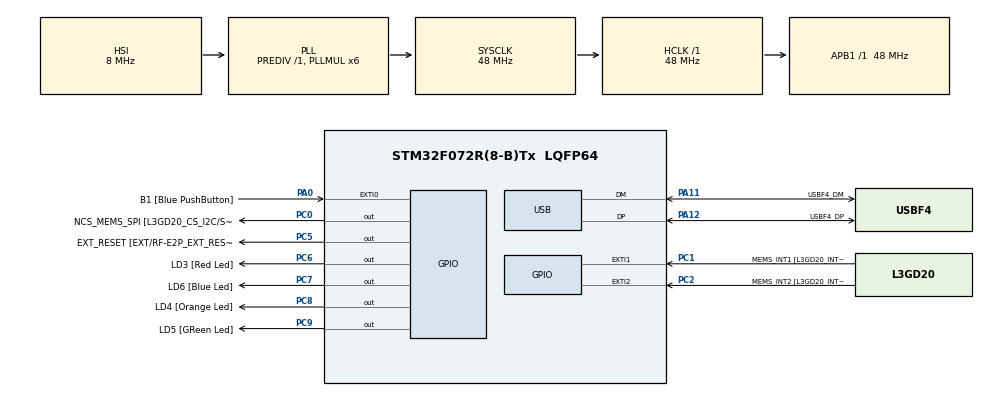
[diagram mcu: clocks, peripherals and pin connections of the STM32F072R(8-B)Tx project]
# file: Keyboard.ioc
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Mcu.Family=STM32F0
Mcu.Name=STM32F072R(8-B)Tx
Mcu.Package=LQFP64
NVIC.USB_IRQn=true\:0\:0\:false\:false\:true\:false
PA0.GPIO_Label=B1 [Blue PushButton]
PA0.GPIO_ModeDefaultEXTI=GPIO_MODE_EVT_RISING
PA0.Signal=GPXTI0
PA11.GPIO_Label=USBF4_DM
PA11.Mode=Device
PA11.Signal=USB_DM
PA12.GPIO_Label=USBF4_DP
PA12.Mode=Device
PA12.Signal=USB_DP
PA13.GPIO_Label=SWDIO
PA13.Mode=Serial_Wire
PA13.Signal=SYS_SWDIO
PA14.GPIO_Label=SWCLK
PA14.Mode=Serial_Wire
PA14.Signal=SYS_SWCLK
PA2.Signal=TSC_G1_IO3
PA3.Signal=TSC_G1_IO4
PA6.Signal=TSC_G2_IO3
PA7.Signal=TSC_G2_IO4
PB0.Signal=TSC_G3_IO2
PB1.Signal=TSC_G3_IO3
PB10.GPIO_Label=I2C2_SCL[EXT/RF-E2P_SCL]
PB10.Signal=I2C2_SCL
PB11.GPIO_Label=I2C2_SDA[EXT/RF-E2P_SDA]
PB11.Signal=I2C2_SDA
PB13.GPIO_Label=SPI2_SCK [L3GD20_SCL/SPC]
PB13.Signal=SPI2_SCK
PB14.GPIO_Label=SPI2_MISO [L3GD20_SDO]
PB14.Signal=SPI2_MISO
PB15.GPIO_Label=SPI2_MOSI [L3GD20_SDA/SDI]
PB15.Signal=SPI2_MOSI
PC0.GPIO_Label=NCS_MEMS_SPI [L3GD20_CS_I2C/SPI]
PC0.Signal=GPIO_Output
PC1.GPIO_Label=MEMS_INT1 [L3GD20_INT1]
PC1.GPIO_ModeDefaultEXTI=GPIO_MODE_EVT_RISING
PC1.Signal=GPXTI1
PC2.GPIO_Label=MEMS_INT2 [L3GD20_INT2]
PC2.GPIO_ModeDefaultEXTI=GPIO_MODE_EVT_RISING
PC2.Signal=GPXTI2
PC5.GPIO_Label=EXT_RESET [EXT/RF-E2P_EXT_RESET]
PC5.Signal=GPIO_Output
PC6.GPIO_Label=LD3 [Red Led]
PC6.Signal=GPIO_Output
PC7.GPIO_Label=LD6 [Blue Led]
PC7.Signal=GPIO_Output
PC8.GPIO_Label=LD4 [Orange Led]
PC8.Signal=GPIO_Output
PC9.GPIO_Label=LD5 [GReen Led]
PC9.Signal=GPIO_Output
ProjectManager.HeapSize=0x1000
ProjectManager.StackSize=0x400
ProjectManager.TargetToolchain=EWARM
RCC.AHBFreq_Value=48000000
RCC.APB1Freq_Value=48000000
RCC.APB1TimFreq_Value=48000000
RCC.HCLKFreq_Value=48000000
RCC.PLLMUL=RCC_PLL_MUL6
RCC.SYSCLKFreq_VALUE=48000000
RCC.SYSCLKSource=RCC_SYSCLKSOURCE_PLLCLK
USB_DEVICE.CLASS_NAME_FS=HID
USB_DEVICE.PRODUCT_STRING_HID_FS=STM32 Keyboard
USB_DEVICE.VirtualMode=Hid
USB_DEVICE.VirtualModeFS=Hid_FS
VP_USB_DEVICE_VS_USB_DEVICE_HID_FS.Mode=HID_FS
board=STM32F072B-DISCO

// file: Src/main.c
/**
  ******************************************************************************
  * File Name          : main.c
  * Description        : Main program body
  ******************************************************************************
  * This notice applies to any and all portions of this file
  * that are not between comment pairs USER CODE BEGIN and
  * USER CODE END. Other portions of this file, whether
  * inserted by the user or by software development tools
  * are owned by their respective copyright owners.
  *
  * Copyright (c) 2017 STMicroelectronics International N.V.
  * All rights reserved.
  *
  * Redistribution and use in source and binary forms, with or without
  * modification, are permitted, provided that the following conditions are met:
  *
  * 1. Redistribution of source code must retain the above copyright notice,
  *    this list of conditions and the following disclaimer.
  * 2. Redistributions in binary form must reproduce the above copyright notice,
  *    this list of conditions and the following disclaimer in the documentation
  *    and/or other materials provided with the distribution.
  * 3. Neither the name of STMicroelectronics nor the names of other
  *    contributors to this software may be used to endorse or promote products
  *    derived from this software without specific written permission.
  * 4. This software, including modifications and/or derivative works of this
  *    software, must execute solely and exclusively on microcontroller or
  *    microprocessor devices manufactured by or for STMicroelectronics.
  * 5. Redistribution and use of this software other than as permitted under
  *    this license is void and will automatically terminate your rights under
  *    this license.
  *
  * THIS SOFTWARE IS PROVIDED BY STMICROELECTRONICS AND CONTRIBUTORS "AS IS"
  * AND ANY EXPRESS, IMPLIED OR STATUTORY WARRANTIES, INCLUDING, BUT NOT
  * LIMITED TO, THE IMPLIED WARRANTIES OF MERCHANTABILITY, FITNESS FOR A
  * PARTICULAR PURPOSE AND NON-INFRINGEMENT OF THIRD PARTY INTELLECTUAL PROPERTY
  * RIGHTS ARE DISCLAIMED TO THE FULLEST EXTENT PERMITTED BY LAW. IN NO EVENT
  * SHALL STMICROELECTRONICS OR CONTRIBUTORS BE LIABLE FOR ANY DIRECT, INDIRECT,
  * INCIDENTAL, SPECIAL, EXEMPLARY, OR CONSEQUENTIAL DAMAGES (INCLUDING, BUT NOT
  * LIMITED TO, PROCUREMENT OF SUBSTITUTE GOODS OR SERVICES; LOSS OF USE, DATA,
  * OR PROFITS; OR BUSINESS INTERRUPTION) HOWEVER CAUSED AND ON ANY THEORY OF
  * LIABILITY, WHETHER IN CONTRACT, STRICT LIABILITY, OR TORT (INCLUDING
  * NEGLIGENCE OR OTHERWISE) ARISING IN ANY WAY OUT OF THE USE OF THIS SOFTWARE,
  * EVEN IF ADVISED OF THE POSSIBILITY OF SUCH DAMAGE.
  *
  ******************************************************************************
  */

#include "main.h"
#include "stm32f0xx_hal.h"
#include "usb_device.h"

/* USER CODE BEGIN Includes */
#include "usbd_hid.h"
/* USER CODE END Includes */

/* USER CODE BEGIN PV */
/* Private variables ---------------------------------------------------------*/

/* USER CODE END PV */

void SystemClock_Config(void);
static void MX_GPIO_Init(void);

/* USER CODE BEGIN PFP */
/* Private function prototypes -----------------------------------------------*/

/* USER CODE END PFP */

/* USER CODE BEGIN 0 */
//my defines
#define USB_HID_MODIFIER_LEFT_CTRL   0x01
#define USB_HID_MODIFIER_LEFT_SHIFT  0x02
#define USB_HID_MODIFIER_LEFT_ALT    0x04
#define USB_HID_MODIFIER_LEFT_GUI    0x08 // (Win/Apple/Meta)
#define USB_HID_MODIFIER_RIGHT_CTRL  0x10
#define USB_HID_MODIFIER_RIGHT_SHIFT 0x20
#define USB_HID_MODIFIER_RIGHT_ALT   0x40
#define USB_HID_MODIFIER_RIGHT_GUI   0x80
/* USER CODE END 0 */

int main(void)
{

  /* USER CODE BEGIN 1 */
// HID Keyboard - up to 3 keys pressed at once
  struct keyboardHID_t {
      uint8_t id;
      uint8_t modifiers;
      uint8_t key1;
      uint8_t key2;
      uint8_t key3;
  };
  struct keyboardHID_t keyboardHID;
  keyboardHID.id = 1;
  keyboardHID.modifiers = 0;
  keyboardHID.key1 = 0;
  keyboardHID.key2 = 0;
  keyboardHID.key3 = 0;
  /* USER CODE END 1 */

  /* MCU Configuration----------------------------------------------------------*/

  /* Reset of all peripherals, Initializes the Flash interface and the Systick. */
  HAL_Init();

  /* Configure the system clock */
  SystemClock_Config();

  /* Initialize all configured peripherals */
  MX_GPIO_Init();
  MX_USB_DEVICE_Init();

  /* Infinite loop */
  while (1)
  {

  /* USER CODE BEGIN 3 */
    //we'll print Hi There, letter by letter
    keyboardHID.modifiers = USB_HID_MODIFIER_RIGHT_SHIFT; //shift pressed
    keyboardHID.key1 = KEY_H; //will be defined later
    USBD_HID_SendReport(&hUsbDeviceFS, (uint8_t *)&keyboardHID, sizeof(struct keyboardHID_t));
    HAL_Delay(30);
    keyboardHID.modifiers = 0;
    keyboardHID.key1 = 0;
    USBD_HID_SendReport(&hUsbDeviceFS, (uint8_t *)&keyboardHID, sizeof(struct keyboardHID_t));
    HAL_Delay(500);
    keyboardHID.modifiers = 0; //shift not pressed
    keyboardHID.key1 = KEY_I; //will be defined later
    USBD_HID_SendReport(&hUsbDeviceFS, (uint8_t *)&keyboardHID, sizeof(struct keyboardHID_t));
    HAL_Delay(30);
    keyboardHID.modifiers = 0;
    keyboardHID.key1 = 0;
    USBD_HID_SendReport(&hUsbDeviceFS, (uint8_t *)&keyboardHID, sizeof(struct keyboardHID_t));
    //for the sake of the video, I'll print just "Hi"
    HAL_Delay(1000);
  }
  /* USER CODE END 3 */

}

/** System Clock Configuration
*/
void SystemClock_Config(void)
{

  RCC_OscInitTypeDef RCC_OscInitStruct;
  RCC_ClkInitTypeDef RCC_ClkInitStruct;
  RCC_PeriphCLKInitTypeDef PeriphClkInit;

    /**Initializes the CPU, AHB and APB busses clocks
    */
  RCC_OscInitStruct.OscillatorType = RCC_OSCILLATORTYPE_HSI|RCC_OSCILLATORTYPE_HSI48;
  RCC_OscInitStruct.HSIState = RCC_HSI_ON;
  RCC_OscInitStruct.HSI48State = RCC_HSI48_ON;
  RCC_OscInitStruct.HSICalibrationValue = 16;
  RCC_OscInitStruct.PLL.PLLState = RCC_PLL_ON;
  RCC_OscInitStruct.PLL.PLLSource = RCC_PLLSOURCE_HSI;
  RCC_OscInitStruct.PLL.PLLMUL = RCC_PLL_MUL6;
  RCC_OscInitStruct.PLL.PREDIV = RCC_PREDIV_DIV1;
  if (HAL_RCC_OscConfig(&RCC_OscInitStruct) != HAL_OK)
  {
    _Error_Handler(__FILE__, __LINE__);
  }

    /**Initializes the CPU, AHB and APB busses clocks
    */
  RCC_ClkInitStruct.ClockType = RCC_CLOCKTYPE_HCLK|RCC_CLOCKTYPE_SYSCLK
                              |RCC_CLOCKTYPE_PCLK1;
  RCC_ClkInitStruct.SYSCLKSource = RCC_SYSCLKSOURCE_PLLCLK;
  RCC_ClkInitStruct.AHBCLKDivider = RCC_SYSCLK_DIV1;
  RCC_ClkInitStruct.APB1CLKDivider = RCC_HCLK_DIV1;

  if (HAL_RCC_ClockConfig(&RCC_ClkInitStruct, FLASH_LATENCY_1) != HAL_OK)
  {
    _Error_Handler(__FILE__, __LINE__);
  }

  PeriphClkInit.PeriphClockSelection = RCC_PERIPHCLK_USB;
  PeriphClkInit.UsbClockSelection = RCC_USBCLKSOURCE_HSI48;

  if (HAL_RCCEx_PeriphCLKConfig(&PeriphClkInit) != HAL_OK)
  {
    _Error_Handler(__FILE__, __LINE__);
  }

    /**Configure the Systick interrupt time
    */
  HAL_SYSTICK_Config(HAL_RCC_GetHCLKFreq()/1000);

    /**Configure the Systick
    */
  HAL_SYSTICK_CLKSourceConfig(SYSTICK_CLKSOURCE_HCLK);

  /* SysTick_IRQn interrupt configuration */
  HAL_NVIC_SetPriority(SysTick_IRQn, 0, 0);
}

/** Configure pins as
        * Analog
        * Input
        * Output
        * EVENT_OUT
        * EXTI
     PA2   ------> TSC_G1_IO3
     PA3   ------> TSC_G1_IO4
     PA6   ------> TSC_G2_IO3
     PA7   ------> TSC_G2_IO4
     PB0   ------> TSC_G3_IO2
     PB1   ------> TSC_G3_IO3
     PB10   ------> I2C2_SCL
     PB11   ------> I2C2_SDA
     PB13   ------> SPI2_SCK
     PB14   ------> SPI2_MISO
     PB15   ------> SPI2_MOSI
*/
static void MX_GPIO_Init(void)
{

  GPIO_InitTypeDef GPIO_InitStruct;

  /* GPIO Ports Clock Enable */
  __HAL_RCC_GPIOC_CLK_ENABLE();
  __HAL_RCC_GPIOA_CLK_ENABLE();
  __HAL_RCC_GPIOB_CLK_ENABLE();

  /*Configure GPIO pin Output Level */
  HAL_GPIO_WritePin(GPIOC, NCS_MEMS_SPI_Pin|EXT_RESET_Pin|LD3_Pin|LD6_Pin
                          |LD4_Pin|LD5_Pin, GPIO_PIN_RESET);

  /*Configure GPIO pins : NCS_MEMS_SPI_Pin EXT_RESET_Pin LD3_Pin LD6_Pin
                           LD4_Pin LD5_Pin */
  GPIO_InitStruct.Pin = NCS_MEMS_SPI_Pin|EXT_RESET_Pin|LD3_Pin|LD6_Pin
                          |LD4_Pin|LD5_Pin;
  GPIO_InitStruct.Mode = GPIO_MODE_OUTPUT_PP;
  GPIO_InitStruct.Pull = GPIO_NOPULL;
  GPIO_InitStruct.Speed = GPIO_SPEED_FREQ_LOW;
  HAL_GPIO_Init(GPIOC, &GPIO_InitStruct);

  /*Configure GPIO pins : MEMS_INT1_Pin MEMS_INT2_Pin */
  GPIO_InitStruct.Pin = MEMS_INT1_Pin|MEMS_INT2_Pin;
  GPIO_InitStruct.Mode = GPIO_MODE_EVT_RISING;
  GPIO_InitStruct.Pull = GPIO_NOPULL;
  HAL_GPIO_Init(GPIOC, &GPIO_InitStruct);

  /*Configure GPIO pin : B1_Pin */
  GPIO_InitStruct.Pin = B1_Pin;
  GPIO_InitStruct.Mode = GPIO_MODE_EVT_RISING;
  GPIO_InitStruct.Pull = GPIO_NOPULL;
  HAL_GPIO_Init(B1_GPIO_Port, &GPIO_InitStruct);

  /*Configure GPIO pins : PA2 PA3 PA6 PA7 */
  GPIO_InitStruct.Pin = GPIO_PIN_2|GPIO_PIN_3|GPIO_PIN_6|GPIO_PIN_7;
  GPIO_InitStruct.Mode = GPIO_MODE_AF_PP;
  GPIO_InitStruct.Pull = GPIO_NOPULL;
  GPIO_InitStruct.Speed = GPIO_SPEED_FREQ_LOW;
  GPIO_InitStruct.Alternate = GPIO_AF3_TSC;
  HAL_GPIO_Init(GPIOA, &GPIO_InitStruct);

  /*Configure GPIO pins : PB0 PB1 */
  GPIO_InitStruct.Pin = GPIO_PIN_0|GPIO_PIN_1;
  GPIO_InitStruct.Mode = GPIO_MODE_AF_PP;
  GPIO_InitStruct.Pull = GPIO_NOPULL;
  GPIO_InitStruct.Speed = GPIO_SPEED_FREQ_LOW;
  GPIO_InitStruct.Alternate = GPIO_AF3_TSC;
  HAL_GPIO_Init(GPIOB, &GPIO_InitStruct);

  /*Configure GPIO pins : I2C2_SCL_Pin I2C2_SDA_Pin */
  GPIO_InitStruct.Pin = I2C2_SCL_Pin|I2C2_SDA_Pin;
  GPIO_InitStruct.Mode = GPIO_MODE_AF_OD;
  GPIO_InitStruct.Pull = GPIO_PULLUP;
  GPIO_InitStruct.Speed = GPIO_SPEED_FREQ_HIGH;
  GPIO_InitStruct.Alternate = GPIO_AF1_I2C2;
  HAL_GPIO_Init(GPIOB, &GPIO_InitStruct);

  /*Configure GPIO pins : SPI2_SCK_Pin SPI2_MISO_Pin SPI2_MOSI_Pin */
  GPIO_InitStruct.Pin = SPI2_SCK_Pin|SPI2_MISO_Pin|SPI2_MOSI_Pin;
  GPIO_InitStruct.Mode = GPIO_MODE_AF_PP;
  GPIO_InitStruct.Pull = GPIO_NOPULL;
  GPIO_InitStruct.Speed = GPIO_SPEED_FREQ_HIGH;
  GPIO_InitStruct.Alternate = GPIO_AF0_SPI2;
  HAL_GPIO_Init(GPIOB, &GPIO_InitStruct);

}

void _Error_Handler(char * file, int line)
{
  while(1)
  {
  }
}

/************************ (C) COPYRIGHT STMicroelectronics *****END OF FILE****/
